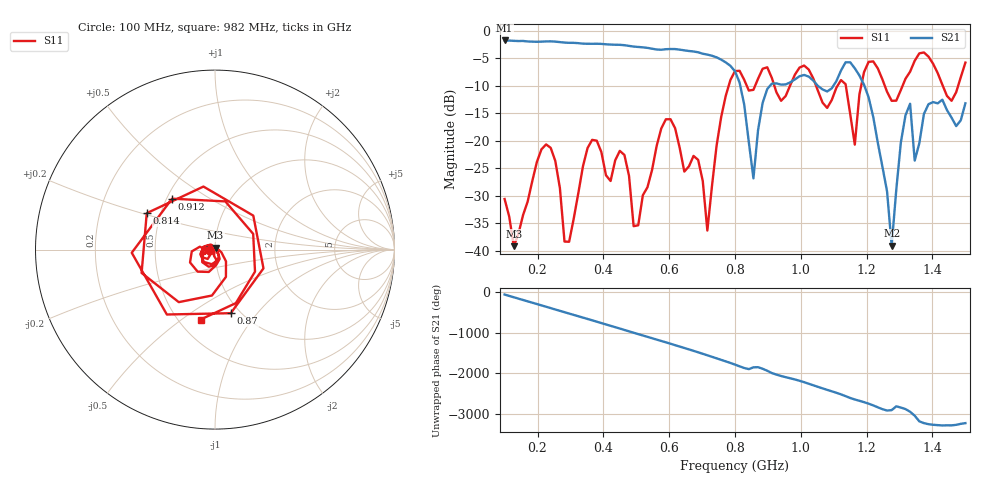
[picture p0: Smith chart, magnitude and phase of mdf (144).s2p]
! NanoVNA-App
! Date: 2025-09-26 09:40:51
! Start: 100MHz Stop: 1,5GHz Points: 101
! S-Parameter data: F S11 S21 S12 S22
# Hz S RI R 50
!  Frequency  S11_Real  S11_Imag  S21_Real  S21_Imag  S12_Real  S12_Imag  S22_Real  S22_Imag
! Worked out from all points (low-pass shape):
!   101 points, 100 MHz to 1.5 GHz, reference 50 ohm
!   highest |S21| = -1.79 dB at 100 MHz (marker M1); lowest = -39.1 dB at 1.276 GHz (marker M2)
!   |S21| within 3 dB of the highest: start of sweep to 740.6 MHz
!   lowest |S11| = -39.2 dB at 128 MHz (marker M3), VSWR 1.02, Z = 50.3 + j1.07 ohm
!   |S11| at or under -10 dB: start of sweep to 781 MHz; 1.046 GHz to 1.112 GHz (65.78 MHz wide, 6.1 % of centre); 1.255 GHz to 1.309 GHz (54.42 MHz wide, 4.24 % of centre) (the widest 3 of 7)
!   S12 and S22 are empty: the file has one direction only
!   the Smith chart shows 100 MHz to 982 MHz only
!   S11 on the Smith chart (normalised r, x): 100 MHz: 0.94, -0.01; 814 MHz: 0.42, +0.21; 870 MHz: 0.91, -0.74; 912 MHz: 0.53, +0.35; 982 MHz: 0.64, -0.59
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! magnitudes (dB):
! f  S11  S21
! 100 MHz  -30.6  -1.8
! 128 MHz  -39.2  -1.9
! 212 MHz  -21.6  -2.0
! 282 MHz  -38.4  -2.2
! 338 MHz  -24.7  -2.4
! 464 MHz  -22.6  -2.6
! 506 MHz  -35.4  -3.0
! 576 MHz  -17.8  -3.5
! 716 MHz  -36.3  -4.4
! 800 MHz  -7.3  -7.4
! 814 MHz  -7.3  -9.5
! 856 MHz  -10.8  -26.9
! 870 MHz  -8.8  -18.1
! 912 MHz  -8.6  -9.6
! 982 MHz  -8.0  -8.9
! 1.038 GHz  -8.7  -9.1
! 1.164 GHz  -20.7  -6.8
! 1.192 GHz  -7.6  -9.8
! 1.276 GHz  -12.8  -39.1
! 1.332 GHz  -7.5  -13.3
! 1.346 GHz  -5.5  -23.6
! 1.5 GHz  -5.8  -13.2
